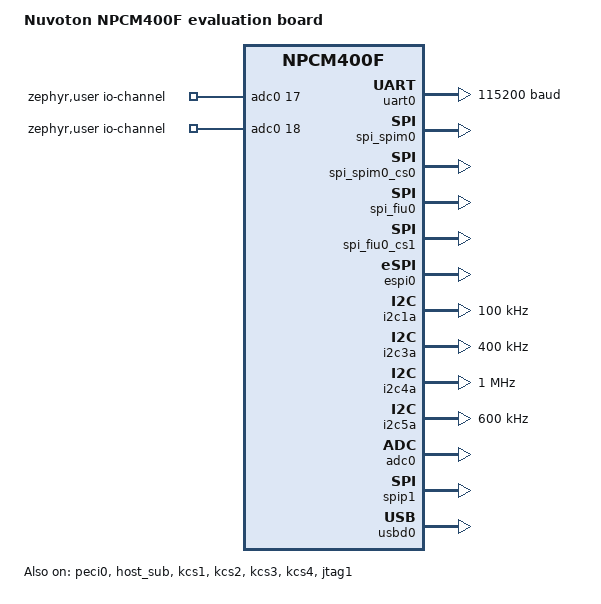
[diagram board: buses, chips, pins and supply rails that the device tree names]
/*
 * Copyright (c) 2021 Nuvoton Technology Corporation.
 *
 * SPDX-License-Identifier: Apache-2.0
 */

/dts-v1/;

#include <nuvoton/npcm400fm4.dtsi>
#include <dt-bindings/i2c/i2c.h>

/ {
	model = "Nuvoton NPCM400F evaluation board";

	chosen {
		zephyr,sram = &sram0;
		zephyr,flash = &flash0;
		zephyr,shell-uart = &uart0;
		zephyr,console = &uart0;
	};

	aliases {
		peci-0 = &peci0;
	};


	power-states {
		suspend_to_idle0: suspend-to-idle0 {
			compatible = "zephyr,power-state";
			power-state-name = "suspend-to-idle";
			substate-id = <0>;
			min-residency-us = <1000>;
		};

		suspend_to_idle1: suspend-to-idle1 {
			compatible = "zephyr,power-state";
			power-state-name = "suspend-to-idle";
			substate-id = <1>;
			min-residency-us = <201000>;
		};
	};

	zephyr,user {
		/* adjust channel number according to enum adc_channel_en in adc_npcm4xx.c */
		/* Because VIN16, THR16, TD2P is the same pin, it must only select one type.
		 * Because VIN15, THR15, TD0P is the same pin, it must only select one type.
		 * Because VIN14, THR14, TD1P is the same pin, it must only select one type.
		 * Because VIN1, THR1, TD3P is the same pin, it must only select one type.
		 * Because VIN2, THR2, TD4P is the same pin, it must only select one type.
		 * Exsample : if you select channel 6(VIN16),
		 *            and you can't select channel 7(THR16) and channel 19(TD2P).
		 */
		io-channels = <&adc0 17>, <&adc0 18>;
	};

};

&uart0 {
	status = "okay";
	current-speed = <115200>;
};

&peci0 {
	status = "okay";
	pinctrl-0 = <&pinctrl_peci0_default>;
};

&spi_spim0 {
	status = "okay";
};

&spi_spim0_cs0 {
	status = "okay";
};

&spi_fiu0 {
	status = "okay";
};

&spi_fiu0_cs1 {
	status = "okay";
};

&espi0 {
	status = "okay";
};

&host_sub {
	status = "okay";
};

&kcs1 {
	status = "okay";
};

&kcs2 {
	status = "okay";
};

&kcs3 {
	status = "okay";
};

&kcs4 {
	status = "okay";
};

/*
 * I2C supported bitrate:
 *   I2C_BITRATE_STANDARD: 100 Kbit/s
 *   I2C_BITRATE_FAST: 400 Kbit/s
 *   I2C_BITRATE_FAST_PLUS: 1 Mbit/s
 *   number: 100000, 200000, ... , 900000, 1000000
 */
&i2c1a {
	clock-frequency = <I2C_BITRATE_STANDARD>;
	status = "okay";
};

&i2c3a {
	clock-frequency = <I2C_BITRATE_FAST>;
	status = "okay";
};

&i2c4a {
	clock-frequency = <I2C_BITRATE_FAST_PLUS>;
	status = "okay";
};

&i2c5a {
	clock-frequency = <600000>;
	status = "okay";
};

&i2c6a {
	clock-frequency = <200000>;
	status = "disabled";
};

&i2c1b {
	clock-frequency = <700000>;
	status = "disabled";
};

&adc0 {
	status = "okay";
	/* Pin D7 have three type VIN16, THR16, TD2P, so it must only select one type for pin.
	 * Pin C7 have three type VIN15, THR15, TD1P, so it must only select one type for pin.
	 * Pin A6 have three type VIN14, THR14, TD0P, so it must only select one type for pin.
	 * Pin B6 have three type VIN1, THR1, TD3P, so it must only select one type for pin.
	 * Pin C6 have three type VIN2, THR2, TD4P, so it must only select one type for pin.
	 */
	pinctrl-0 = <&pinctrl_vin7_default /* VIN7 - C8 */
		     &pinctrl_vin5_default  /* VIN5 - F7 */
		     &pinctrl_vin16_default /* VIN16 - D7 */
		     /* &pinctrl_thr16_default */ /* THR16 - D7 */
		     /* &pinctrl_td2p_default */ /* TD2P - D7 */
		     &pinctrl_vin15_default /* VIN15 - C7 */
		     /* &pinctrl_thr15_default */ /* THR15 - C7 */
		     /* &pinctrl_td1p_default */ /* TD1P - C7 */
		     &pinctrl_vin14_default /* VIN14 - A6 */
		     /* &pinctrl_thr14_default */ /* THR14 - A6 */
		     /* &pinctrl_td0p_default */ /* TD0P - A6 */
		     &pinctrl_vin1_default  /* VIN1 - B6 */
		     /* &pinctrl_thr1_default */ /* THR1 - B6 */
		     /* &pinctrl_td3p_default */ /* TD3P - B6 */
		     &pinctrl_vin2_default  /* VIN2 - C6 */
		     /* &pinctrl_thr2_default */ /* THR2 - C6 */
		     /* &pinctrl_td4p_default */ /* TD4P - C6 */
		     &pinctrl_vin3_default>; /* VIN3 - D6 */
};

&spip1 {
	status = "okay";
};

&i3c0 {
	status = "disabled";
	assigned-address = <0x20>;
	i2c-scl-hz = <100000>;
	i3c-scl-hz = <12500000>;
	/* part-id = <0x1234>; */
	/* vendor-def-id = <0x567>; */
	bcr = <0x66>;
	dcr = <0xCC>;
	busno = <0x0>;
	pinctrl-0 = <&pinctrl_i3c0_default>;
};

&i3c1 {
	status = "disabled";
	assigned-address = <0x21>;
	i2c-scl-hz = <100000>;
	i3c-scl-hz = <12500000>;
	/* part-id = <0x1234>; */
	/* vendor-def-id = <0x5607>; */
	bcr = <0x66>;
	dcr = <0xCC>;
	slave;
	secondary;
	busno = <0x0>;
	pinctrl-0 = <&pinctrl_i3c1_default>;

	/* #address-cells = <1>; */
	/* #size-cells = <0>; */

	/*
	 * i3c1_smq:i3c-slave-mqueue@21 {
	 *	compatible = "aspeed,i3c-slave-mqueue";
	 *	reg = <0x21>;
	 *	msg-size = <256>;
	 *	num-of-msgs = <4>;
	 *	mandatory-data-byte = <0xbf>;
	 *	label = "I3C_1_SMQ";
	 *	status = "okay";
	 * };
	 */
};

&usbd0 {
	status = "okay";
};

&jtag1 {
	tck-gpios = <&gpiof 0 (GPIO_PUSH_PULL | GPIO_ACTIVE_HIGH)>;
	tdi-gpios = <&gpiof 1 (GPIO_PUSH_PULL | GPIO_ACTIVE_HIGH)>;
	tdo-gpios = <&gpiof 2 (GPIO_ACTIVE_HIGH)>;
	tms-gpios = <&gpiof 3 (GPIO_PUSH_PULL | GPIO_ACTIVE_HIGH)>;
	status = "okay";
};
